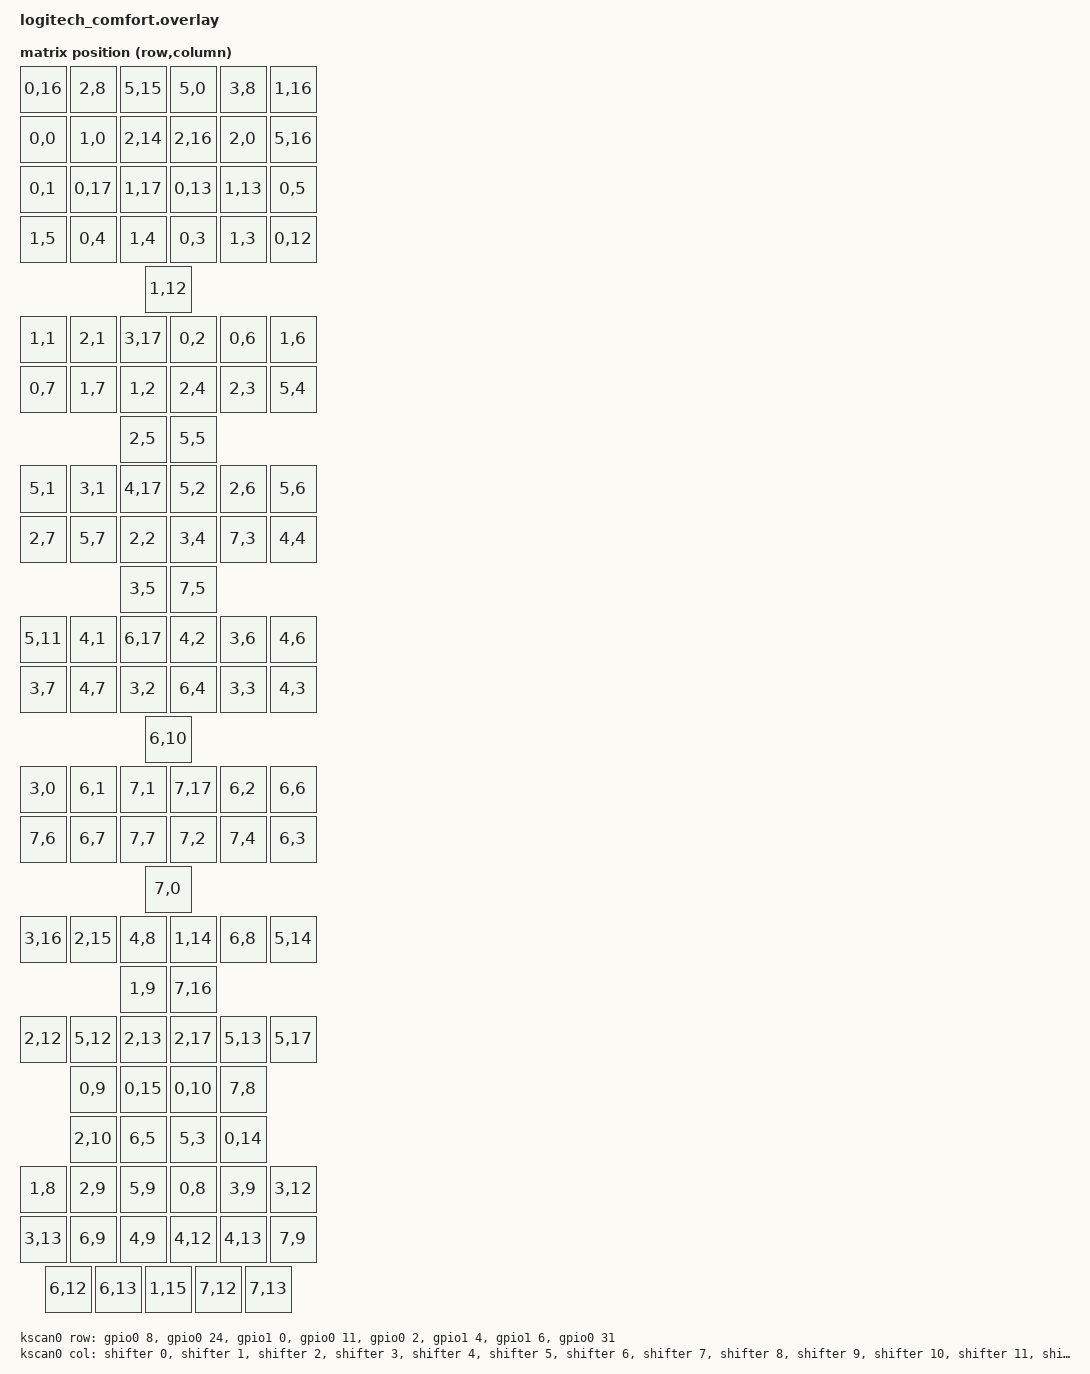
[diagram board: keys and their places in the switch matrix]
/*
 * Logitech Cordless Desktop Comfort Laser converti en Bluetooth
 * ProMicro nRF52840 (nice!nano v2) + 2 x 74HC595 + écran nice!view
 *
 * Bus SPI partagé : 017 = données (écran DI + 595-A broche 14)
 *                   020 = horloge (écran CLK + broches 11 des deux 595)
 *                   006 = CS de l'écran, 022 = verrou des 595 (broches 12)
 */

#include <dt-bindings/zmk/matrix_transform.h>

&pinctrl {
    spi0_default: spi0_default {
        group1 {
            psels = <NRF_PSEL(SPIM_SCK, 0, 20)>,
                <NRF_PSEL(SPIM_MOSI, 0, 17)>,
                <NRF_PSEL(SPIM_MISO, 0, 25)>;
        };
    };
    spi0_sleep: spi0_sleep {
        group1 {
            psels = <NRF_PSEL(SPIM_SCK, 0, 20)>,
                <NRF_PSEL(SPIM_MOSI, 0, 17)>,
                <NRF_PSEL(SPIM_MISO, 0, 25)>;
            low-power-enable;
        };
    };
};
/* Bootloader sans SoftDevice : le firmware doit commencer à 0x1000 */
&sd_partition {
    reg = <0x00000000 0x00001000>;
};

&code_partition {
    reg = <0x00001000 0x000eb000>;
};
/* Le bus I2C utilise les mêmes broches (017/020) : on le coupe */
&pro_micro_i2c {
    status = "disabled";
};

nice_view_spi: &spi0 {
    status = "okay";
    compatible = "nordic,nrf-spim";
    pinctrl-0 = <&spi0_default>;
    pinctrl-1 = <&spi0_sleep>;
    pinctrl-names = "default", "sleep";
    /* index 0 : écran nice!view (CS actif haut), index 1 : verrou des 74HC595 */
    cs-gpios = <&gpio0 6 GPIO_ACTIVE_HIGH>, <&gpio0 22 GPIO_ACTIVE_LOW>;

    shifter: 595@1 {
        compatible = "zmk,gpio-595";
        status = "okay";
        gpio-controller;
        spi-max-frequency = <1000000>;
        reg = <1>;
        #gpio-cells = <2>;
        ngpios = <16>;
    };
};

/ {
    chosen {
        zmk,kscan = &kscan0;
        zmk,matrix-transform = &default_transform;
    };

    kscan0: kscan {
        compatible = "zmk,kscan-gpio-matrix";
        diode-direction = "col2row";
        /* anti-rebond un peu plus long que par défaut (barre d'espace sensible) */
        debounce-press-ms = <8>;
        debounce-release-ms = <8>;

        col-gpios =
            <&shifter 0 GPIO_ACTIVE_HIGH>,   /* 595-A Q0 = contact J1 1 */
            <&shifter 1 GPIO_ACTIVE_HIGH>,   /* 595-A Q1 = contact J1 2 */
            <&shifter 2 GPIO_ACTIVE_HIGH>,   /* 595-A Q2 = contact J1 4 */
            <&shifter 3 GPIO_ACTIVE_HIGH>,   /* 595-A Q3 = contact J1 5 */
            <&shifter 4 GPIO_ACTIVE_HIGH>,   /* 595-A Q4 = contact J1 6 */
            <&shifter 5 GPIO_ACTIVE_HIGH>,   /* 595-A Q5 = contact J1 7 */
            <&shifter 6 GPIO_ACTIVE_HIGH>,   /* 595-A Q6 = contact J1 8 */
            <&shifter 7 GPIO_ACTIVE_HIGH>,   /* 595-A Q7 = contact J1 9 */
            <&shifter 8 GPIO_ACTIVE_HIGH>,   /* 595-B Q0 = contact J1 10 */
            <&shifter 9 GPIO_ACTIVE_HIGH>,   /* 595-B Q1 = contact J1 11 */
            <&shifter 10 GPIO_ACTIVE_HIGH>,   /* 595-B Q2 = contact J1 12 */
            <&shifter 11 GPIO_ACTIVE_HIGH>,   /* 595-B Q3 = contact J1 13 */
            <&shifter 12 GPIO_ACTIVE_HIGH>,   /* 595-B Q4 = contact J1 14 */
            <&shifter 13 GPIO_ACTIVE_HIGH>,   /* 595-B Q5 = contact J1 23 */
            <&shifter 14 GPIO_ACTIVE_HIGH>,   /* 595-B Q6 = contact J1 24 */
            <&shifter 15 GPIO_ACTIVE_HIGH>,   /* 595-B Q7 = contact J1 25 */
            <&gpio0 29 GPIO_ACTIVE_HIGH>,   /* 029 = contact J1 26 */
            <&gpio1 15 GPIO_ACTIVE_HIGH>    /* 115 = contact J1 3 */
            ;

        row-gpios =
            <&gpio0 8 (GPIO_ACTIVE_HIGH | GPIO_PULL_DOWN)>,   /* 008 = contact J1 15 */
            <&gpio0 24 (GPIO_ACTIVE_HIGH | GPIO_PULL_DOWN)>,   /* 024 = contact J1 16 */
            <&gpio1 0 (GPIO_ACTIVE_HIGH | GPIO_PULL_DOWN)>,   /* 100 = contact J1 17 */
            <&gpio0 11 (GPIO_ACTIVE_HIGH | GPIO_PULL_DOWN)>,   /* 011 = contact J1 18 */
            <&gpio0 2 (GPIO_ACTIVE_HIGH | GPIO_PULL_DOWN)>,   /* 002 = contact J1 19 */
            <&gpio1 4 (GPIO_ACTIVE_HIGH | GPIO_PULL_DOWN)>,   /* 104 = contact J1 20 */
            <&gpio1 6 (GPIO_ACTIVE_HIGH | GPIO_PULL_DOWN)>,   /* 106 = contact J1 21 */
            <&gpio0 31 (GPIO_ACTIVE_HIGH | GPIO_PULL_DOWN)>    /* 031 = contact J1 22 */
            ;
    };

    /* 8 lignes x 18 colonnes. Même ordre que dans config/logitech_comfort.keymap */
    default_transform: keymap_transform_0 {
        compatible = "zmk,matrix-transform";
        rows = <8>;
        columns = <18>;
        map = <
            /* Touches spéciales (en haut) */
            RC(0,16)  RC(2,8)  RC(5,15)  RC(5,0)  RC(3,8)  RC(1,16)
            RC(0,0)  RC(1,0)  RC(2,14)  RC(2,16)  RC(2,0)  RC(5,16)
            /* Rangée des fonctions */
            RC(0,1)  RC(0,17)  RC(1,17)  RC(0,13)  RC(1,13)  RC(0,5)
            RC(1,5)  RC(0,4)  RC(1,4)  RC(0,3)  RC(1,3)  RC(0,12)
            RC(1,12)
            /* Rangée des chiffres */
            RC(1,1)  RC(2,1)  RC(3,17)  RC(0,2)  RC(0,6)  RC(1,6)
            RC(0,7)  RC(1,7)  RC(1,2)  RC(2,4)  RC(2,3)  RC(5,4)
            RC(2,5)  RC(5,5)
            /* Rangée a z e r t y */
            RC(5,1)  RC(3,1)  RC(4,17)  RC(5,2)  RC(2,6)  RC(5,6)
            RC(2,7)  RC(5,7)  RC(2,2)  RC(3,4)  RC(7,3)  RC(4,4)
            RC(3,5)  RC(7,5)
            /* Rangée q s d f g */
            RC(5,11)  RC(4,1)  RC(6,17)  RC(4,2)  RC(3,6)  RC(4,6)
            RC(3,7)  RC(4,7)  RC(3,2)  RC(6,4)  RC(3,3)  RC(4,3)
            RC(6,10)
            /* Rangée w x c v b */
            RC(3,0)  RC(6,1)  RC(7,1)  RC(7,17)  RC(6,2)  RC(6,6)
            RC(7,6)  RC(6,7)  RC(7,7)  RC(7,2)  RC(7,4)  RC(6,3)
            RC(7,0)
            /* Rangée du bas */
            RC(3,16)  RC(2,15)  RC(4,8)  RC(1,14)  RC(6,8)  RC(5,14)
            RC(1,9)  RC(7,16)
            /* Bloc de navigation */
            RC(2,12)  RC(5,12)  RC(2,13)  RC(2,17)  RC(5,13)  RC(5,17)
            RC(0,9)  RC(0,15)  RC(0,10)  RC(7,8)
            /* Flèches */
            RC(2,10)  RC(6,5)  RC(5,3)  RC(0,14)
            /* Pavé numérique */
            RC(1,8)  RC(2,9)  RC(5,9)  RC(0,8)  RC(3,9)  RC(3,12)
            RC(3,13)  RC(6,9)  RC(4,9)  RC(4,12)  RC(4,13)  RC(7,9)
            RC(6,12)  RC(6,13)  RC(1,15)  RC(7,12)  RC(7,13)
        >;
    };
};
